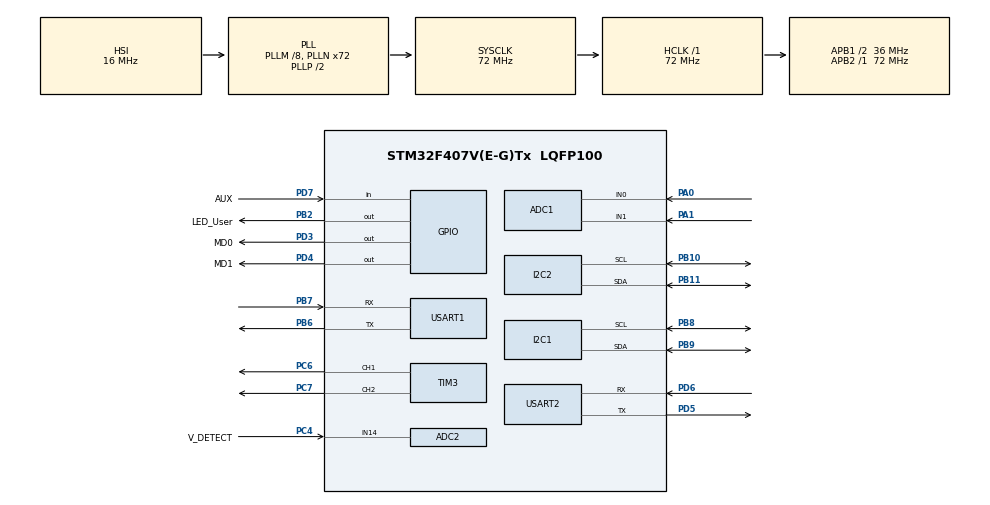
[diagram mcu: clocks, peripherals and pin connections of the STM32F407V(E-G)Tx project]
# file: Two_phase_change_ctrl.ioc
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ADC1.Channel-0\#ChannelRegularConversion=ADC_CHANNEL_0
ADC1.Channel-1\#ChannelRegularConversion=ADC_CHANNEL_0
ADC1.DMAContinuousRequests=ENABLE
ADC1.NbrOfConversion=2
ADC1.NbrOfConversionFlag=1
ADC1.Rank-0\#ChannelRegularConversion=1
ADC1.Rank-1\#ChannelRegularConversion=2
ADC1.SamplingTime-0\#ChannelRegularConversion=ADC_SAMPLETIME_3CYCLES
ADC1.SamplingTime-1\#ChannelRegularConversion=ADC_SAMPLETIME_3CYCLES
ADC1.ScanConvMode=ENABLE
ADC1.master=1
ADC2.Channel-0\#ChannelRegularConversion=ADC_CHANNEL_14
ADC2.DMAContinuousRequests=ENABLE
ADC2.NbrOfConversionFlag=1
ADC2.Rank-0\#ChannelRegularConversion=1
ADC2.SamplingTime-0\#ChannelRegularConversion=ADC_SAMPLETIME_3CYCLES
ADC2.ScanConvMode=ENABLE
Dma.ADC1.4.Direction=DMA_PERIPH_TO_MEMORY
Dma.ADC1.4.FIFOMode=DMA_FIFOMODE_DISABLE
Dma.ADC1.4.Instance=DMA2_Stream0
Dma.ADC1.4.MemDataAlignment=DMA_MDATAALIGN_HALFWORD
Dma.ADC1.4.MemInc=DMA_MINC_ENABLE
Dma.ADC1.4.Mode=DMA_NORMAL
Dma.ADC1.4.PeriphDataAlignment=DMA_PDATAALIGN_HALFWORD
Dma.ADC1.4.PeriphInc=DMA_PINC_DISABLE
Dma.ADC1.4.Priority=DMA_PRIORITY_LOW
Dma.ADC2.6.Direction=DMA_PERIPH_TO_MEMORY
Dma.ADC2.6.FIFOMode=DMA_FIFOMODE_DISABLE
Dma.ADC2.6.Instance=DMA2_Stream2
Dma.ADC2.6.MemDataAlignment=DMA_MDATAALIGN_HALFWORD
Dma.ADC2.6.MemInc=DMA_MINC_ENABLE
Dma.ADC2.6.Mode=DMA_NORMAL
Dma.ADC2.6.PeriphDataAlignment=DMA_PDATAALIGN_HALFWORD
Dma.ADC2.6.PeriphInc=DMA_PINC_DISABLE
Dma.ADC2.6.Priority=DMA_PRIORITY_LOW
Dma.I2C1_RX.0.Direction=DMA_PERIPH_TO_MEMORY
Dma.I2C1_RX.0.FIFOMode=DMA_FIFOMODE_DISABLE
Dma.I2C1_RX.0.Instance=DMA1_Stream0
Dma.I2C1_RX.0.MemDataAlignment=DMA_MDATAALIGN_BYTE
Dma.I2C1_RX.0.MemInc=DMA_MINC_ENABLE
Dma.I2C1_RX.0.Mode=DMA_NORMAL
Dma.I2C1_RX.0.PeriphDataAlignment=DMA_PDATAALIGN_BYTE
Dma.I2C1_RX.0.PeriphInc=DMA_PINC_DISABLE
Dma.I2C1_RX.0.Priority=DMA_PRIORITY_LOW
Dma.I2C1_TX.1.Direction=DMA_MEMORY_TO_PERIPH
Dma.I2C1_TX.1.FIFOMode=DMA_FIFOMODE_DISABLE
Dma.I2C1_TX.1.Instance=DMA1_Stream7
Dma.I2C1_TX.1.MemDataAlignment=DMA_MDATAALIGN_BYTE
Dma.I2C1_TX.1.MemInc=DMA_MINC_ENABLE
Dma.I2C1_TX.1.Mode=DMA_NORMAL
Dma.I2C1_TX.1.PeriphDataAlignment=DMA_PDATAALIGN_BYTE
Dma.I2C1_TX.1.PeriphInc=DMA_PINC_DISABLE
Dma.I2C1_TX.1.Priority=DMA_PRIORITY_LOW
Dma.Request0=I2C1_RX
Dma.Request1=I2C1_TX
Dma.Request2=USART2_RX
Dma.Request3=USART2_TX
Dma.Request4=ADC1
Dma.Request5=USART1_TX
Dma.Request6=ADC2
Dma.USART1_TX.5.Direction=DMA_MEMORY_TO_PERIPH
Dma.USART1_TX.5.FIFOMode=DMA_FIFOMODE_DISABLE
Dma.USART1_TX.5.Instance=DMA2_Stream7
Dma.USART1_TX.5.MemDataAlignment=DMA_MDATAALIGN_BYTE
Dma.USART1_TX.5.MemInc=DMA_MINC_ENABLE
Dma.USART1_TX.5.Mode=DMA_NORMAL
Dma.USART1_TX.5.PeriphDataAlignment=DMA_PDATAALIGN_BYTE
Dma.USART1_TX.5.PeriphInc=DMA_PINC_DISABLE
Dma.USART1_TX.5.Priority=DMA_PRIORITY_LOW
Dma.USART2_RX.2.Direction=DMA_PERIPH_TO_MEMORY
Dma.USART2_RX.2.FIFOMode=DMA_FIFOMODE_DISABLE
Dma.USART2_RX.2.Instance=DMA1_Stream5
Dma.USART2_RX.2.MemDataAlignment=DMA_MDATAALIGN_BYTE
Dma.USART2_RX.2.MemInc=DMA_MINC_ENABLE
Dma.USART2_RX.2.Mode=DMA_NORMAL
Dma.USART2_RX.2.PeriphDataAlignment=DMA_PDATAALIGN_BYTE
Dma.USART2_RX.2.PeriphInc=DMA_PINC_DISABLE
Dma.USART2_RX.2.Priority=DMA_PRIORITY_MEDIUM
Dma.USART2_TX.3.Direction=DMA_MEMORY_TO_PERIPH
Dma.USART2_TX.3.FIFOMode=DMA_FIFOMODE_DISABLE
Dma.USART2_TX.3.Instance=DMA1_Stream6
Dma.USART2_TX.3.MemDataAlignment=DMA_MDATAALIGN_BYTE
Dma.USART2_TX.3.MemInc=DMA_MINC_ENABLE
Dma.USART2_TX.3.Mode=DMA_NORMAL
Dma.USART2_TX.3.PeriphDataAlignment=DMA_PDATAALIGN_BYTE
Dma.USART2_TX.3.PeriphInc=DMA_PINC_DISABLE
Dma.USART2_TX.3.Priority=DMA_PRIORITY_LOW
FREERTOS.Mutexes01=usart2_rx_mutexes,Dynamic,NULL,Available
FREERTOS.Queues01=usart2_rx_queue,16,uint32_t,0,Dynamic,NULL,NULL;usart1_rx_queue,16,uint32_t,0,Dynamic,NULL,NULL
FREERTOS.Tasks01=defaultTask,48,256,StartDefaultTask,Default,NULL,Dynamic,NULL,NULL;MonitorTask,24,256,StartMonitorTask,Default,NULL,Dynamic,NULL,NULL;VoltageWarning,8,256,StartvoltageWarningtask,Default,NULL,Dynamic,NULL,NULL;Receive_Target_,40,256,StartReceive_Target_change,Default,NULL,Dynamic,NULL,NULL;Ctrl_task,32,512,StartCtrl_task,Default,NULL,Dynamic,NULL,NULL
FREERTOS.configENABLE_FPU=1
Mcu.Family=STM32F4
Mcu.Name=STM32F407V(E-G)Tx
Mcu.Package=LQFP100
NVIC.ADC_IRQn=true\:5\:0\:false\:false\:true\:true\:true\:true\:true
NVIC.DMA1_Stream0_IRQn=true\:5\:0\:false\:false\:true\:true\:false\:true\:true
NVIC.DMA1_Stream5_IRQn=true\:5\:0\:false\:false\:true\:true\:false\:true\:true
NVIC.DMA1_Stream6_IRQn=true\:5\:0\:false\:false\:true\:true\:false\:true\:true
NVIC.DMA1_Stream7_IRQn=true\:5\:0\:false\:false\:true\:true\:false\:true\:true
NVIC.DMA2_Stream0_IRQn=true\:5\:0\:false\:false\:true\:true\:false\:true\:true
NVIC.DMA2_Stream2_IRQn=true\:5\:0\:false\:false\:true\:true\:false\:true\:true
NVIC.DMA2_Stream7_IRQn=true\:5\:0\:false\:false\:true\:true\:false\:true\:true
NVIC.I2C1_ER_IRQn=true\:5\:0\:false\:false\:true\:true\:true\:true\:true
NVIC.I2C1_EV_IRQn=true\:5\:0\:false\:false\:true\:true\:true\:true\:true
NVIC.I2C2_ER_IRQn=true\:5\:0\:false\:false\:true\:true\:true\:true\:true
NVIC.I2C2_EV_IRQn=true\:5\:0\:false\:false\:true\:true\:true\:true\:true
NVIC.PriorityGroup=NVIC_PRIORITYGROUP_4
NVIC.TIM1_UP_TIM10_IRQn=true\:15\:0\:false\:false\:true\:false\:false\:true\:true
NVIC.TimeBase=TIM1_UP_TIM10_IRQn
NVIC.TimeBaseIP=TIM1
NVIC.USART1_IRQn=true\:5\:0\:false\:false\:true\:true\:false\:true\:true
NVIC.USART2_IRQn=true\:5\:0\:false\:false\:true\:true\:false\:true\:true
PA0-WKUP.Signal=ADCx_IN0
PA1.Signal=ADCx_IN1
PA13.Mode=Serial_Wire
PA13.Signal=SYS_JTMS-SWDIO
PA14.Mode=Serial_Wire
PA14.Signal=SYS_JTCK-SWCLK
PB10.Mode=I2C
PB10.Signal=I2C2_SCL
PB11.Mode=I2C
PB11.Signal=I2C2_SDA
PB2.GPIO_Label=LED_User
PB2.Signal=GPIO_Output
PB6.Mode=Asynchronous
PB6.Signal=USART1_TX
PB7.Mode=Asynchronous
PB7.Signal=USART1_RX
PB8.Mode=I2C
PB8.Signal=I2C1_SCL
PB9.Mode=I2C
PB9.Signal=I2C1_SDA
PC14-OSC32_IN.Mode=LSE-External-Oscillator
PC14-OSC32_IN.Signal=RCC_OSC32_IN
PC15-OSC32_OUT.Mode=LSE-External-Oscillator
PC15-OSC32_OUT.Signal=RCC_OSC32_OUT
PC4.GPIO_Label=V_DETECT
PC4.Signal=ADCx_IN14
PC6.Signal=S_TIM3_CH1
PC7.Signal=S_TIM3_CH2
PD3.GPIO_Label=MD0
PD3.Signal=GPIO_Output
PD4.GPIO_Label=MD1
PD4.Signal=GPIO_Output
PD5.Mode=Asynchronous
PD5.Signal=USART2_TX
PD6.Mode=Asynchronous
PD6.Signal=USART2_RX
PD7.GPIO_Label=AUX
PD7.Signal=GPIO_Input
PH0-OSC_IN.Mode=HSE-External-Oscillator
PH0-OSC_IN.Signal=RCC_OSC_IN
PH1-OSC_OUT.Mode=HSE-External-Oscillator
PH1-OSC_OUT.Signal=RCC_OSC_OUT
ProjectManager.HeapSize=0x200
ProjectManager.StackSize=0x400
ProjectManager.TargetToolchain=CMake
RCC.48MHZClocksFreq_Value=36000000
RCC.AHBFreq_Value=72000000
RCC.APB1CLKDivider=RCC_HCLK_DIV2
RCC.APB1Freq_Value=36000000
RCC.APB1TimFreq_Value=72000000
RCC.APB2Freq_Value=72000000
RCC.APB2TimFreq_Value=72000000
RCC.CortexFreq_Value=72000000
RCC.HCLKFreq_Value=72000000
RCC.HSE_VALUE=25000000
RCC.HSI_VALUE=16000000
RCC.PLLM=8
RCC.PLLN=72
RCC.SYSCLKFreq_VALUE=72000000
RCC.SYSCLKSource=RCC_SYSCLKSOURCE_PLLCLK
RCC.VCOOutputFreq_Value=144000000
SH.ADCx_IN0.0=ADC1_IN0,IN0
SH.ADCx_IN1.0=ADC1_IN1,IN1
SH.ADCx_IN14.0=ADC2_IN14,IN14
SH.S_TIM3_CH1.0=TIM3_CH1,PWM Generation1 CH1
SH.S_TIM3_CH2.0=TIM3_CH2,PWM Generation2 CH2
TIM3.Channel-PWM\ Generation1\ CH1=TIM_CHANNEL_1
TIM3.Channel-PWM\ Generation2\ CH2=TIM_CHANNEL_2
USART1.VirtualMode=VM_ASYNC
USART2.VirtualMode=VM_ASYNC
VP_FREERTOS_VS_CMSIS_V2.Mode=CMSIS_V2
VP_SYS_VS_tim1.Mode=TIM1
VP_TIM3_VS_ClockSourceINT.Mode=Internal
board=custom

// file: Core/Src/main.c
/* USER CODE BEGIN Header */
/**
  ******************************************************************************
  * @file           : main.c
  * @brief          : Main program body
  ******************************************************************************
  * @attention
  *
  * Copyright (c) 2025 STMicroelectronics.
  * All rights reserved.
  *
  * This software is licensed under terms that can be found in the LICENSE file
  * in the root directory of this software component.
  * If no LICENSE file comes with this software, it is provided AS-IS.
  *
  ******************************************************************************
  */
/* USER CODE END Header */
#include "main.h"
#include "cmsis_os.h"
#include "adc.h"
#include "dma.h"
#include "i2c.h"
#include "tim.h"
#include "usart.h"
#include "gpio.h"

void SystemClock_Config(void);
void MX_FREERTOS_Init(void);

int main(void)
{

  /* MCU Configuration--------------------------------------------------------*/

  /* Reset of all peripherals, Initializes the Flash interface and the Systick. */

  HAL_Init();

  /* Configure the system clock */
  SystemClock_Config();

  /* Initialize all configured peripherals */
  MX_GPIO_Init();
  MX_DMA_Init();
  MX_ADC1_Init();
  MX_I2C1_Init();
  MX_TIM3_Init();
  MX_USART1_UART_Init();
  MX_USART2_UART_Init();
  MX_I2C2_Init();
  MX_ADC2_Init();
  /* USER CODE BEGIN 2 */

  //启动TIM3 PWM输出
  HAL_TIM_PWM_Start(&htim3, TIM_CHANNEL_1);
  HAL_TIM_PWM_Start(&htim3, TIM_CHANNEL_2);

  //上电关闭加热，占空比调节为0，防止误动作
  __HAL_TIM_SET_COMPARE(&htim3, TIM_CHANNEL_1, 0);
  __HAL_TIM_SET_COMPARE(&htim3, TIM_CHANNEL_2, 0);
  /* USER CODE END 2 */

  /* Init scheduler */
  osKernelInitialize();  /* Call init function for freertos objects (in cmsis_os2.c) */
  MX_FREERTOS_Init();

  /* Start scheduler */
  osKernelStart();

  /* We should never get here as control is now taken by the scheduler */

  /* Infinite loop */
  while (1)
  {

  }
}

void SystemClock_Config(void)
{
  RCC_OscInitTypeDef RCC_OscInitStruct = {0};
  RCC_ClkInitTypeDef RCC_ClkInitStruct = {0};

  /** Configure the main internal regulator output voltage
  */
  __HAL_RCC_PWR_CLK_ENABLE();
  __HAL_PWR_VOLTAGESCALING_CONFIG(PWR_REGULATOR_VOLTAGE_SCALE1);

  /** Initializes the RCC Oscillators according to the specified parameters
  * in the RCC_OscInitTypeDef structure.
  */
  RCC_OscInitStruct.OscillatorType = RCC_OSCILLATORTYPE_HSI;
  RCC_OscInitStruct.HSIState = RCC_HSI_ON;
  RCC_OscInitStruct.HSICalibrationValue = RCC_HSICALIBRATION_DEFAULT;
  RCC_OscInitStruct.PLL.PLLState = RCC_PLL_ON;
  RCC_OscInitStruct.PLL.PLLSource = RCC_PLLSOURCE_HSI;
  RCC_OscInitStruct.PLL.PLLM = 8;
  RCC_OscInitStruct.PLL.PLLN = 72;
  RCC_OscInitStruct.PLL.PLLP = RCC_PLLP_DIV2;
  RCC_OscInitStruct.PLL.PLLQ = 4;
  if (HAL_RCC_OscConfig(&RCC_OscInitStruct) != HAL_OK)
  {
    Error_Handler();
  }

  /** Initializes the CPU, AHB and APB buses clocks
  */
  RCC_ClkInitStruct.ClockType = RCC_CLOCKTYPE_HCLK|RCC_CLOCKTYPE_SYSCLK
                              |RCC_CLOCKTYPE_PCLK1|RCC_CLOCKTYPE_PCLK2;
  RCC_ClkInitStruct.SYSCLKSource = RCC_SYSCLKSOURCE_PLLCLK;
  RCC_ClkInitStruct.AHBCLKDivider = RCC_SYSCLK_DIV1;
  RCC_ClkInitStruct.APB1CLKDivider = RCC_HCLK_DIV2;
  RCC_ClkInitStruct.APB2CLKDivider = RCC_HCLK_DIV1;

  if (HAL_RCC_ClockConfig(&RCC_ClkInitStruct, FLASH_LATENCY_2) != HAL_OK)
  {
    Error_Handler();
  }
}

void HAL_TIM_PeriodElapsedCallback(TIM_HandleTypeDef *htim)
{
  if (htim->Instance == TIM1)
  {
    HAL_IncTick();
  }
}

void Error_Handler(void)
{
  __disable_irq();
  while (1)
  {
  }
}

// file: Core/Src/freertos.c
/* USER CODE BEGIN Header */
/**
  ******************************************************************************
  * File Name          : freertos.c
  * Description        : Code for freertos applications
  ******************************************************************************
  * @attention
  *
  * Copyright (c) 2025 STMicroelectronics.
  * All rights reserved.
  *
  * This software is licensed under terms that can be found in the LICENSE file
  * in the root directory of this software component.
  * If no LICENSE file comes with this software, it is provided AS-IS.
  *
  ******************************************************************************
  */
/* USER CODE END Header */

#include "FreeRTOS.h"
#include "task.h"
#include "main.h"
#include "cmsis_os.h"

/* USER CODE BEGIN Includes */
#include "WF5803F.h"
#include "usart.h"
#include "NTC.h"
#include "V_Detect.h"
#include "data_packet.h"
#include "serial_to_pc.h"
#include "temp_pid_ctrl.h"
#include "heating_timed.h"
#include <stdint.h>
/* USER CODE END Includes */

/* Definitions for defaultTask */
osThreadId_t defaultTaskHandle;
const osThreadAttr_t defaultTask_attributes = {
  .name = "defaultTask",
  .stack_size = 256 * 4,
  .priority = (osPriority_t) osPriorityRealtime,
};
/* Definitions for MonitorTask */
osThreadId_t MonitorTaskHandle;
const osThreadAttr_t MonitorTask_attributes = {
  .name = "MonitorTask",
  .stack_size = 256 * 4,
  .priority = (osPriority_t) osPriorityNormal,
};
/* Definitions for VoltageWarning */
osThreadId_t VoltageWarningHandle;
const osThreadAttr_t VoltageWarning_attributes = {
  .name = "VoltageWarning",
  .stack_size = 256 * 4,
  .priority = (osPriority_t) osPriorityLow,
};
/* Definitions for Receive_Target_ */
osThreadId_t Receive_Target_Handle;
const osThreadAttr_t Receive_Target__attributes = {
  .name = "Receive_Target_",
  .stack_size = 256 * 4,
  .priority = (osPriority_t) osPriorityHigh,
};
/* Definitions for Ctrl_task */
osThreadId_t Ctrl_taskHandle;
const osThreadAttr_t Ctrl_task_attributes = {
  .name = "Ctrl_task",
  .stack_size = 512 * 4,
  .priority = (osPriority_t) osPriorityAboveNormal,
};
/* Definitions for usart2_rx_queue */
osMessageQueueId_t usart2_rx_queueHandle;
const osMessageQueueAttr_t usart2_rx_queue_attributes = {
  .name = "usart2_rx_queue"
};
/* Definitions for usart1_rx_queue */
osMessageQueueId_t usart1_rx_queueHandle;
const osMessageQueueAttr_t usart1_rx_queue_attributes = {
  .name = "usart1_rx_queue"
};
/* Definitions for usart2_rx_mutexes */
osMutexId_t usart2_rx_mutexesHandle;
const osMutexAttr_t usart2_rx_mutexes_attributes = {
  .name = "usart2_rx_mutexes"
};

void StartDefaultTask(void *argument);
void StartMonitorTask(void *argument);
void StartvoltageWarningtask(void *argument);
void StartReceive_Target_change(void *argument);
void StartCtrl_task(void *argument);

void MX_FREERTOS_Init(void); /* (MISRA C 2004 rule 8.1) */

void MX_FREERTOS_Init(void) {
  /* Create the mutex(es) */
  /* creation of usart2_rx_mutexes */
  usart2_rx_mutexesHandle = osMutexNew(&usart2_rx_mutexes_attributes);

  /* Create the queue(s) */
  /* creation of usart2_rx_queue */
  usart2_rx_queueHandle = osMessageQueueNew (16, sizeof(uint32_t), &usart2_rx_queue_attributes);

  /* creation of usart1_rx_queue */
  usart1_rx_queueHandle = osMessageQueueNew (16, sizeof(uint32_t), &usart1_rx_queue_attributes);

  /* Create the thread(s) */
  /* creation of defaultTask */
  defaultTaskHandle = osThreadNew(StartDefaultTask, NULL, &defaultTask_attributes);

  /* creation of MonitorTask */
  MonitorTaskHandle = osThreadNew(StartMonitorTask, NULL, &MonitorTask_attributes);

  /* creation of VoltageWarning */
  VoltageWarningHandle = osThreadNew(StartvoltageWarningtask, NULL, &VoltageWarning_attributes);

  /* creation of Receive_Target_ */
  Receive_Target_Handle = osThreadNew(StartReceive_Target_change, NULL, &Receive_Target__attributes);

  /* creation of Ctrl_task */
  Ctrl_taskHandle = osThreadNew(StartCtrl_task, NULL, &Ctrl_task_attributes);

  /* USER CODE BEGIN RTOS_THREADS */
  /* add threads, ... */
  // 其他任务创建后立即挂起，等待初始化完成
  osThreadSuspend(MonitorTaskHandle);
  osThreadSuspend(VoltageWarningHandle);
  osThreadSuspend(Receive_Target_Handle);
  osThreadSuspend(Ctrl_taskHandle);
  /* USER CODE END RTOS_THREADS */

}

void StartDefaultTask(void *argument)
{
  /* USER CODE BEGIN StartDefaultTask */
  // 初始化外设
  osDelay(10); // 确保系统稳定
  // 发送启动消息（使用非阻塞方式，但此时已经没有竞争）
  //send_ready(CMD_TEXT_INFO, "system start\n"); // 发送时间: ~1.56ms @115200 (18字节)
  send2pc(CMD_TEXT_INFO, NULL, "system start\n");
  //HAL_UART_Receive_IT(&huart2, &rx_byte, 1);//打开串口2接收中断，接收到的数据放入rx_byte变量，相当于初始化接收

  #if WF5803F_Enable
  WF5803F_Init();//初始化WF5803F模块
  #endif
  NTC_Init();//初始化NTC模块
  Voltage_Init();//初始化电压检测模块
  TempCtrl_Init(&Temp_PID_Controller_CH0);//初始化温度控制模块
  /* Infinite loop */
  for(;;)
  {
    // 恢复其他任务
    osThreadResume(MonitorTaskHandle);
    osThreadResume(VoltageWarningHandle);
    osThreadResume(Receive_Target_Handle);
    osThreadResume(Ctrl_taskHandle);
    //删除自己,使用CMSIS_V2接口
    osThreadTerminate(defaultTaskHandle);
    osDelay(1);
  }
  /* USER CODE END StartDefaultTask */
}

void StartMonitorTask(void *argument)
{
  /* USER CODE BEGIN StartMonitorTask */

  /* Infinite loop */
  for(;;)
  {
    NTC_StartDMA();//数据利用完毕重新启动DMA转换
    HAL_ADC_PollForConversion(&hadc1, 1); //死等转换完成，确保数据有效(osdelay会打断任务执行逻辑)
    #if WF5803F_Enable
    WF5803F_ReadData(&WF5803F_DataBuffer); // 读取原始数据
    WF5803F_Calculate(&WF5803F_DataBuffer); // 计算温度和压力
    #endif

    NTC_Calculate(&NTC_DataBuffer);//计算温度

    //打包数据（会根据宏定义来自行打包该打包的数据）
    pack_data(&packet_data);
    //判断宏定义来发送信息
    #if NTC_CHANNEL0_ENABLE
    //send_ready(CMD_NTC, "CH0:%.2f\n", packet_data.ntc_temp_ch0); // 发送时间: ~1.30ms @115200 (15字节)
    send2pc(CMD_NTC, &packet_data, NULL);
    #endif
    #if NTC_CHANNEL1_ENABLE
    //send_ready(CMD_NTC, "CH1:%.2f\n", packet_data.ntc_temp_ch1); // 发送时间: ~1.30ms @115200 (15字节)
    send2pc(CMD_NTC, &packet_data, NULL);
    #endif
    //发送WF5803F数据
    #if WF5803F_Enable
    //send_ready(CMD_WF5803F, "T:%.2f,P:%.2f\n", packet_data.wf_temperature, packet_data.wf_pressure); // 发送时间: ~2.00ms @115200 (23字节)
    send2pc(CMD_WF5803F, &packet_data, NULL);
    #endif

    //延迟时间注意要大于ADC转换时间（大概 100ns）+消息发送时间，否则会出现发送信息重叠的问题，以及ADC数据错乱的问题（目前双传感器不带PID发送已经测试最小间隔5ms）
    osDelay(20); // 每10ms采样一次
  }
  /* USER CODE END StartMonitorTask */
}

void StartvoltageWarningtask(void *argument)
{
  /* USER CODE BEGIN StartvoltageWarningtask */
  Voltage_StartDMA();//启动电压检测的ADC DMA转换
  osDelay(1); // 等待ADC转换完成（1ms足够，实际只需约100μs）

  Voltage_Calculate(&Voltage_DataBuffer);//计算电源电压
  pack_data(&packet_data);
  send2pc(CMD_VOLTAGE, &packet_data, NULL);
  //Voltage_info_send(&Voltage_DataBuffer);//发送电源电压信息: ~1.30ms(OK) 或 ~1.39ms(LOW) @115200
  // send_message("Voltage Check Done\n");//发送电源电压检查完成消息，约1.20ms @115200
  /* Infinite loop */
  for(;;)
  { osDelay(600000);//每10分钟检查一次电压
    Voltage_StartDMA();//启动电压检测的ADC DMA转换
    osDelay(1); // 等待ADC转换完成（1ms足够，实际只需约100μs）

    Voltage_Calculate(&Voltage_DataBuffer);//计算电源电压
    send2pc(CMD_VOLTAGE, &packet_data, NULL);
    //Voltage_info_send(&Voltage_DataBuffer);//发送电源电压信息: ~1.30ms(OK) 或 ~1.39ms(LOW) @115200
    //send_message("Voltage Check Done\n");//发送电源电压检查完成消息，约1.20ms @115200

  }
  /* USER CODE END StartvoltageWarningtask */
}

void StartReceive_Target_change(void *argument)
{
  /* USER CODE BEGIN StartReceive_Target_change */
  uint32_t received_value;
  osStatus_t status;
  //uint8_t received_data;
  //send_message("=== USART Receive Task Started (Priority: Realtime) ===\n");
  /* Infinite loop */
  for(;;)
  {
    // 阻塞读取队列，永久等待直到有数据到来 (CMSIS V2 API)
    status = osMessageQueueGet(usart2_rx_queueHandle, &received_value, NULL, osWaitForever);
    // ========== 在此处添加命令处理逻辑 ==========
    // LED 闪烁，指示接收事件（PB2）
    HAL_GPIO_TogglePin(GPIOB, GPIO_PIN_2);

    if (status == osOK) {
      // 从队列中获取环形缓冲池中的缓冲区指针
      //uint8_t *received_data = (uint8_t *)received_value;  // 暂时不使用接收数据

      if(Temp_PID_Controller_CH0.setpoint == TARGET_TEMP_1) {
        PID_Reset(&Temp_PID_Controller_CH0);
        PID_SetSetpoint(&Temp_PID_Controller_CH0, TARGET_TEMP_2);
      }
      else {
        PID_Reset(&Temp_PID_Controller_CH0);
        PID_SetSetpoint(&Temp_PID_Controller_CH0, TARGET_TEMP_1);
      }
      // 发送固定应答数据 0xB1, 0xB2
      send_response();  // 参数已无实际作用，传 0 和 NULL 即可

      // 如果需要调试接收到的数据，可以取消注释下面这行
      // send2pc(CMD_TEXT_INFO, NULL, "Received: %s\n", (char *)received_value);

      // 注意：不需要手动清空缓冲区，下次中断会自动清空并复用
    }

    osDelay(1);
  }
  /* USER CODE END StartReceive_Target_change */
}

void StartCtrl_task(void *argument)
{
  /* USER CODE BEGIN StartCtrl_task */
  #if HEATING_TIMED_ENABLE && !PID_CONTROL_ENABLE
  int32_t counter=0;
  int32_t counter_2=0;
  #endif
  /* Infinite loop */
  for(;;)
  {
    uint32_t sys_tick_count_ctrl;
    // 使用NTC原始浮点温度值进行PID计算（而非放大100倍的整数值）
    float current_temp = NTC_DataBuffer.temperature_ch0;
#if PID_CONTROL_ENABLE
    sys_tick_count_ctrl = osKernelGetTickCount(); // 获取系统滴答计数器的当前值
    // PID计算并设置PWM输出
    PID_Compute(&Temp_PID_Controller_CH0, current_temp);
    Set_Heating_PWM((uint16_t)(Temp_PID_Controller_CH0.output));

    // 更新数据包（包含最新的PID输出值）
    pack_data(&packet_data);

    // 发送PID信息到上位机
    send2pc(CMD_PID_VALUE, &packet_data, NULL);

    osDelayUntil(sys_tick_count_ctrl+Temp_PID_Controller_CH0.sample_time_ms); // 控制频率1/PID_SAMPLE_TIME_MS HZ
#endif
#if (!PID_CONTROL_ENABLE && HEATING_TIMED_ENABLE)
    if(current_temp < 40.0f) {// 非PID模式下，低于30度时加热
    for(counter=0;counter<80;counter++){ // 非PID模式下，低于30度时加热10次，每次加热0.1秒
        sys_tick_count_ctrl = osKernelGetTickCount(); // 获取系统滴答计数器的当前值
        Set_Heating_PWM(1000); // 满功率加热
        osDelayUntil(sys_tick_count_ctrl+100);
    }
    counter_2++;
    send2pc(CMD_TEXT_INFO, NULL, "Heating for %lu seconds\n", counter_2);
    Set_Heating_PWM(0);
    // counter=0;
  }
    else {
      //counter_2=0;
      Set_Heating_PWM(0);
      osDelay(100);

    }

#endif
  }
  /* USER CODE END StartCtrl_task */
}
